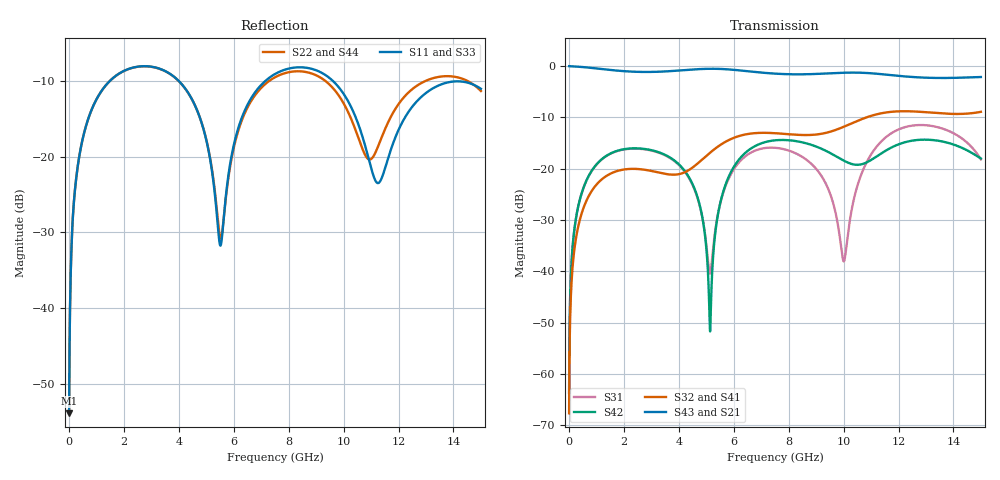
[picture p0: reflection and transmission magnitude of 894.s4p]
! Created with skrf 1.8.0 (http://scikit-rf.org).
# GHz S RI R 50.0
!freq ReS11 ImS11 ReS12 ImS12 ReS13 ImS13
! ReS14 ImS14
! ReS21 ImS21 ReS22 ImS22 ReS23 ImS23
! ReS24 ImS24
! ReS31 ImS31 ReS32 ImS32 ReS33 ImS33
! ReS34 ImS34
! ReS41 ImS41 ReS42 ImS42 ReS43 ImS43
! ReS44 ImS44
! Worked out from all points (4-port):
!   2499 points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, 5 MHz to 15 GHz, reference 50 ohm
!   strongest paths, dB at 5 MHz, 3.476 GHz, 7.19 GHz, 11.1 GHz, 15 GHz:
!     S43: 0.0, -1.0, -1.3, -1.4, -2.1
!     S21: 0.0, -1.0, -1.4, -1.4, -2.1
!     S32: -67.7, -21.0, -13.0, -9.5, -8.9
!     S41: -67.7, -21.0, -13.0, -9.6, -9.0
!     S42: -63.7, -17.2, -14.8, -18.0, -18.0
!     S31: -63.7, -17.3, -15.9, -16.4, -18.2
!   lowest |S11| = -53.8 dB at 5 MHz (marker M1), VSWR 1.00, Z = 50.2 + j0.124 ohm
!   |S11| at or under -10 dB: start of sweep to 1.503 GHz; 3.982 GHz to 7.168 GHz (3.186 GHz wide, 57.2 % of centre); 9.595 GHz to end of sweep
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0.005  0.00162 0.00123  0.9983 -0.00316  8.17e-05 0.000648  -7.93e-05 -0.000406
       0.9983 -0.00316  0.00162 0.00123  -7.93e-05 -0.000406  8.17e-05 0.000648
       8.17e-05 0.000648  -7.93e-05 -0.000406  0.00162 0.00123  0.9983 -0.00316
       -7.93e-05 -0.000406  8.17e-05 0.000648  0.9983 -0.00316  0.00162 0.00123
0.3126303  0.0237 0.0813  0.9677 -0.1969  0.0108 0.0385  -0.00906 -0.0239
           0.9677 -0.1969  0.0237 0.0813  -0.00907 -0.0239  0.011 0.0385
           0.0108 0.0385  -0.00907 -0.0239  0.0237 0.0813  0.9677 -0.1969
           -0.00906 -0.0239  0.011 0.0385  0.9677 -0.1969  0.0237 0.0813
1.519383  0.2614 0.1817  0.5689 -0.7179  0.1242 0.0656  -0.0891 -0.0095
          0.5689 -0.7179  0.2608 0.182  -0.0892 -0.00936  0.126 0.0632
          0.1242 0.0656  -0.0892 -0.00936  0.2614 0.1817  0.5689 -0.7179
          -0.0891 -0.0095  0.126 0.0632  0.5689 -0.7179  0.2609 0.182
5.139642  0.0436 -0.0856  -0.8996 -0.2784  -0.00951 -0.000434  -0.0393 0.1378
          -0.8996 -0.2784  0.0467 -0.0857  -0.0371 0.1385  -0.00259 0.000173
          -0.00951 -0.000434  -0.0371 0.1385  0.0443 -0.0858  -0.8995 -0.2787
          -0.0393 0.1378  -0.00259 0.000173  -0.8995 -0.2787  0.0462 -0.0862
8.597332  0.3819 -0.0479  0.0203 0.8307  0.1181 -0.0413  0.2033 -0.0575
          0.0203 0.8307  0.3596 -0.0282  0.2033 -0.063  0.1159 -0.1351
          0.1181 -0.0413  0.2033 -0.063  0.3775 -0.0467  0.0202 0.8322
          0.2033 -0.0575  0.1159 -0.1351  0.0202 0.8322  0.3566 -0.0294
10.00417  0.1869 -0.1779  0.6107 0.6056  0.0116 0.00456  0.1772 -0.1843
          0.6107 0.6056  0.1817 -0.1299  0.1716 -0.1902  -0.0767 -0.0923
          0.0116 0.00456  0.1716 -0.1902  0.1834 -0.1727  0.6127 0.6058
          0.1772 -0.1843  -0.0767 -0.0923  0.6127 0.6058  0.1753 -0.1277
15  0.2607 -0.0995  -0.2899 -0.7276  0.0488 -0.1131  -0.3212 0.1549
    -0.2899 -0.7276  0.2387 -0.126  -0.3143 0.172  0.00904 -0.1254
    0.0488 -0.1131  -0.3143 0.172  0.2642 -0.091  -0.2881 -0.7276
    -0.3212 0.1549  0.00904 -0.1254  -0.2881 -0.7276  0.2379 -0.1342
